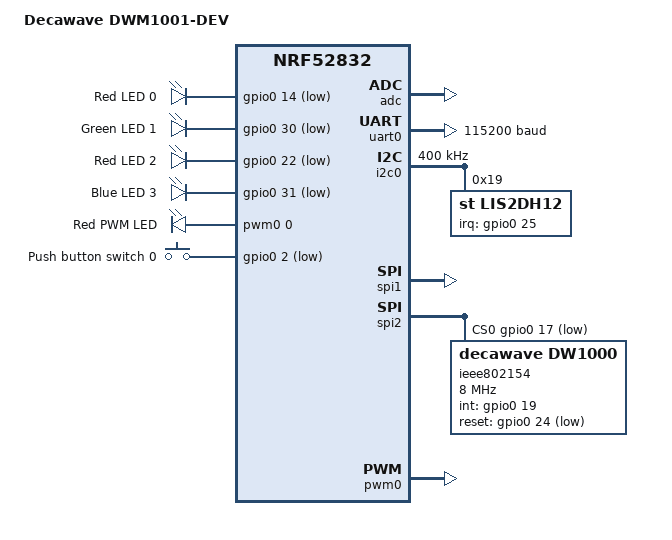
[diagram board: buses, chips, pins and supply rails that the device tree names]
/*
 * Copyright (c) 2019 Stéphane D'Alu
 *
 * SPDX-License-Identifier: Apache-2.0
 */

/dts-v1/;
#include <nordic/nrf52832_qfaa.dtsi>
#include "decawave_dwm1001_dev-pinctrl.dtsi"
#include <zephyr/dt-bindings/input/input-event-codes.h>

/ {
	model = "Decawave DWM1001-DEV";
	compatible = "decawave,dwm1001";

	chosen {
		zephyr,console        = &uart0;
		zephyr,shell-uart     = &uart0;
		zephyr,uart-mcumgr    = &uart0;
		zephyr,bt-mon-uart    = &uart0;
		zephyr,bt-c2h-uart    = &uart0;
		zephyr,sram           = &sram0;
		zephyr,flash          = &flash0;
		zephyr,code-partition = &slot0_partition;
		zephyr,ieee802154     = &ieee802154;
	};

	leds {
		compatible = "gpio-leds";
		led0_red: led_0 {
			gpios = <&gpio0 14 GPIO_ACTIVE_LOW>;
			label = "Red LED 0";
		};
		led1_green: led_1 {
			gpios = <&gpio0 30 GPIO_ACTIVE_LOW>;
			label = "Green LED 1";
		};
		led2_red: led_2 {
			gpios = <&gpio0 22 GPIO_ACTIVE_LOW>;
			label = "Red LED 2";
		};
		led3_blue: led_3 {
			gpios = <&gpio0 31 GPIO_ACTIVE_LOW>;
			label = "Blue LED 3";
		};
	};

	pwmleds {
		compatible = "pwm-leds";
		pwm_led0_red: pwm_led_0 {
			pwms = <&pwm0 0 PWM_MSEC(20) PWM_POLARITY_INVERTED>;
			label = "Red PWM LED";
		};
	};

	buttons {
		compatible = "gpio-keys";
		button0: button_0 {
			gpios = <&gpio0 2 (GPIO_PULL_UP | GPIO_ACTIVE_LOW)>;
			label = "Push button switch 0";
			zephyr,code = <INPUT_KEY_0>;
		};
	};

	/* These aliases are provided for compatibility with samples */
	aliases {
		sw0        = &button0;
		led0       = &led0_red;
		led1       = &led1_green;
		led2       = &led2_red;
		led3       = &led3_blue;
		led0-red   = &led0_red;
		led1-green = &led1_green;
		led2-red   = &led2_red;
		led3-blue  = &led3_blue;
		pwm-led0   = &pwm_led0_red;
		watchdog0 = &wdt0;
		accel0     = &lis2dh12;
	};

};

&adc {
	status = "okay";
};

&uicr {
	gpio-as-nreset;
};

&gpiote {
	status = "okay";
};

&gpio0 {
	status = "okay";
};

&uart0 {
	status = "okay";
	compatible = "nordic,nrf-uart";
	current-speed = <115200>;
	pinctrl-0 = <&uart0_default>;
	pinctrl-1 = <&uart0_sleep>;
	pinctrl-names = "default", "sleep";
};

&i2c0 {
	compatible = "nordic,nrf-twim";
	status = "okay";
	clock-frequency = <I2C_BITRATE_FAST>;

	pinctrl-0 = <&i2c0_default>;
	pinctrl-1 = <&i2c0_sleep>;
	pinctrl-names = "default", "sleep";
	lis2dh12: lis2dh12@19 {
		compatible = "st,lis2dh12", "st,lis2dh";
		reg = <0x19>;
		irq-gpios = <&gpio0 25 GPIO_ACTIVE_HIGH>;
	};
};

&spi1 {
	compatible = "nordic,nrf-spi";
	status = "okay";
	cs-gpios = <&gpio0 3 0>;
	pinctrl-0 = <&spi1_default>;
	pinctrl-1 = <&spi1_sleep>;
	pinctrl-names = "default", "sleep";
};

&spi2 {
	compatible = "nordic,nrf-spi";
	status = "okay";
	cs-gpios = <&gpio0 17 GPIO_ACTIVE_LOW>;

	pinctrl-0 = <&spi2_default>;
	pinctrl-1 = <&spi2_sleep>;
	pinctrl-names = "default", "sleep";
	ieee802154: dw1000@0 {
		compatible = "decawave,dw1000";
		spi-max-frequency = <8000000>;
		int-gpios = <&gpio0 19 GPIO_ACTIVE_HIGH>;	/* P0.19 */
		reset-gpios = <&gpio0 24 GPIO_ACTIVE_LOW>;	/* P0.24 */
		status = "okay";
		reg = <0>;
	};
};

&pwm0 {
	status = "okay";
	pinctrl-0 = <&pwm0_default>;
	pinctrl-1 = <&pwm0_sleep>;
	pinctrl-names = "default", "sleep";
};

&flash0 {

	partitions {
		compatible = "fixed-partitions";
		#address-cells = <1>;
		#size-cells = <1>;

		boot_partition: partition@0 {
			label = "mcuboot";
			reg = <0x00000000 0xc000>;
		};
		slot0_partition: partition@c000 {
			label = "image-0";
			reg = <0x0000C000 0x32000>;
		};
		slot1_partition: partition@3e000 {
			label = "image-1";
			reg = <0x0003E000 0x32000>;
		};
		scratch_partition: partition@70000 {
			label = "image-scratch";
			reg = <0x00070000 0xa000>;
		};
		storage_partition: partition@7a000 {
			label = "storage";
			reg = <0x0007a000 0x00006000>;
		};
	};
};
